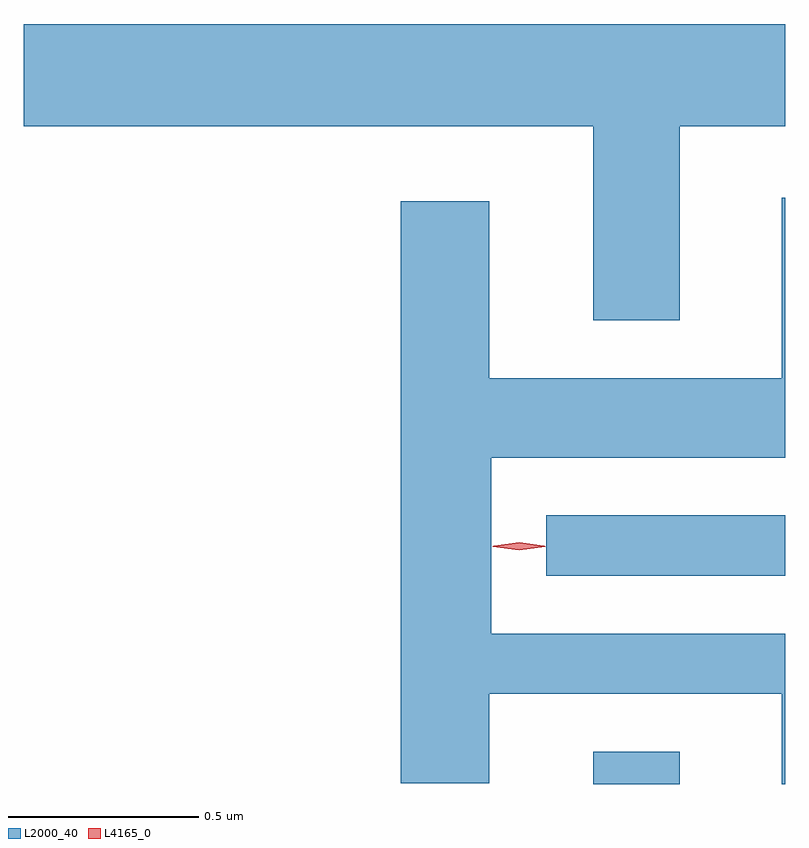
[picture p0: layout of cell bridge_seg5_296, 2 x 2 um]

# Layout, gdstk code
import gdstk
lib = gdstk.Library(unit=1e-6, precision=1e-09)
def R(c, l, rs):  # rectangles x0, y0, x1, y1
    for r in rs: c.add(gdstk.rectangle(r[:2], r[2:], *l))
def P(c, l, *ps):  # polygons
    for p in ps: c.add(gdstk.Polygon(p, *l))
L2000_40 = (2000, 40)
L4165_0 = (4165, 0)

bridge_seg5_296 = lib.new_cell('bridge_seg5_296')
R(bridge_seg5_296, L2000_40, [(919.171,1481.709,919.399,1481.794), (919.048,1482.256,919.676,1482.414)])
P(bridge_seg5_296, L2000_40, [(919.399,1483.436),(919.676,1483.436),(919.676,1483.704),(917.676,1483.704),(917.676,1483.436),(919.171,1483.436),(919.171,1482.926),(919.399,1482.926)],
  [(919.676,1482.104),(918.904,1482.104),(918.904,1482.566),(919.676,1482.566),(919.676,1483.248),(919.666,1483.248),(919.666,1482.774),(918.899,1482.774),(918.899,1483.239),(918.666,1483.239),(918.666,1481.711),(918.899,1481.711),(918.899,1481.946),(919.666,1481.946),(919.666,1481.709),(919.676,1481.709)])
P(bridge_seg5_296, L4165_0, [(918.977,1482.322),(918.908,1482.332),(918.907,1482.332),(918.908,1482.333),(918.977,1482.342),(919.046,1482.333),(919.046,1482.332),(919.046,1482.332)],
  [(918.977,1482.324),(918.911,1482.333),(918.91,1482.334),(918.911,1482.334),(918.977,1482.344),(919.042,1482.334),(919.043,1482.334),(919.042,1482.333)])

lib.write_gds('bridge_seg5_296.gds')
